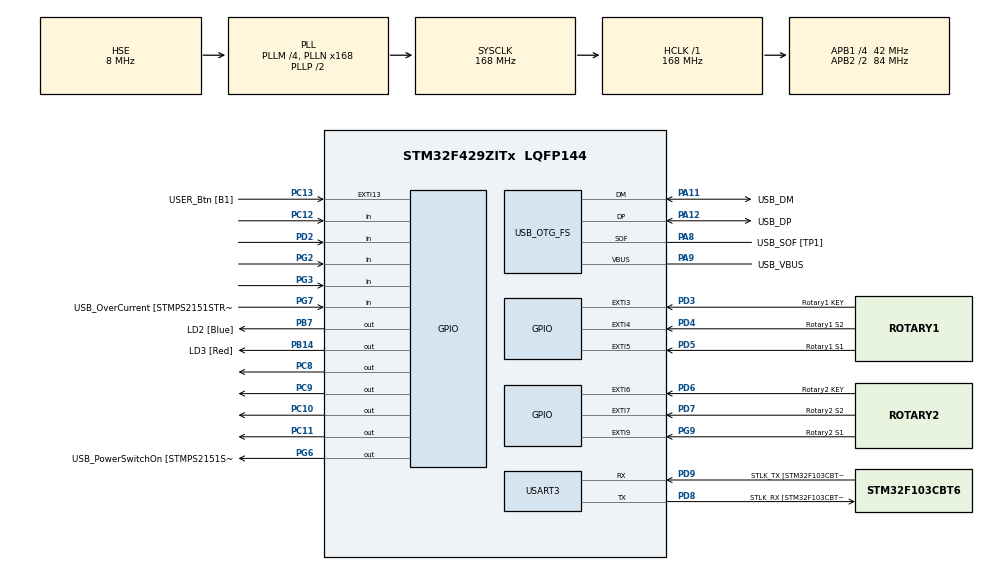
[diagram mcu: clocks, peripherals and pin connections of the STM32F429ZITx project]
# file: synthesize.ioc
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FREERTOS.Tasks01=defaultTask,24,128,StartDefaultTask,Default,NULL,Dynamic,NULL,NULL
FREERTOS.configTOTAL_HEAP_SIZE=65536
Mcu.Family=STM32F4
Mcu.Name=STM32F429ZITx
Mcu.Package=LQFP144
NVIC.EXTI3_IRQn=true\:5\:0\:false\:false\:true\:true\:true\:true\:true
NVIC.EXTI4_IRQn=true\:5\:0\:false\:false\:true\:true\:true\:true\:true
NVIC.EXTI9_5_IRQn=true\:5\:0\:false\:false\:true\:true\:true\:true\:true
NVIC.PriorityGroup=NVIC_PRIORITYGROUP_4
NVIC.TIM6_DAC_IRQn=true\:15\:0\:false\:false\:true\:false\:false\:true\:true
NVIC.TimeBase=TIM6_DAC_IRQn
NVIC.TimeBaseIP=TIM6
PA1.GPIO_Label=RMII_REF_CLK [LAN8742A-CZ-TR_REFCLK0]
PA1.Signal=ETH_REF_CLK
PA10.GPIO_Label=USB_ID
PA10.Signal=USB_OTG_FS_ID
PA11.GPIO_Label=USB_DM
PA11.Mode=Device_Only
PA11.Signal=USB_OTG_FS_DM
PA12.GPIO_Label=USB_DP
PA12.Mode=Device_Only
PA12.Signal=USB_OTG_FS_DP
PA13.GPIO_Label=TMS
PA13.Mode=Serial_Wire
PA13.Signal=SYS_JTMS-SWDIO
PA14.GPIO_Label=TCK
PA14.Mode=Serial_Wire
PA14.Signal=SYS_JTCK-SWCLK
PA2.GPIO_Label=RMII_MDIO [LAN8742A-CZ-TR_MDIO]
PA2.Signal=ETH_MDIO
PA7.GPIO_Label=RMII_CRS_DV [LAN8742A-CZ-TR_CRS_DV]
PA7.Signal=ETH_CRS_DV
PA8.GPIO_Label=USB_SOF [TP1]
PA8.Mode=Activate_SOF_FS
PA8.Signal=USB_OTG_FS_SOF
PA9.GPIO_Label=USB_VBUS
PA9.Mode=Activate_VBUS
PA9.Signal=USB_OTG_FS_VBUS
PB13.GPIO_Label=RMII_TXD1 [LAN8742A-CZ-TR_TXD1]
PB13.Signal=ETH_TXD1
PB14.GPIO_Label=LD3 [Red]
PB14.Signal=GPIO_Output
PB7.GPIO_Label=LD2 [Blue]
PB7.Signal=GPIO_Output
PC10.GPIO_ModeDefaultOutputPP=GPIO_MODE_OUTPUT_OD
PC10.GPIO_PuPd=GPIO_NOPULL
PC10.PinState=GPIO_PIN_SET
PC10.Signal=GPIO_Output
PC11.GPIO_ModeDefaultOutputPP=GPIO_MODE_OUTPUT_OD
PC11.GPIO_PuPd=GPIO_NOPULL
PC11.Signal=GPIO_Output
PC12.GPIO_PuPd=GPIO_PULLUP
PC12.Signal=GPIO_Input
PC13.GPIO_Label=USER_Btn [B1]
PC13.Signal=GPXTI13
PC14/OSC32_IN.Mode=LSE-External-Oscillator
PC14/OSC32_IN.Signal=RCC_OSC32_IN
PC15/OSC32_OUT.Mode=LSE-External-Oscillator
PC15/OSC32_OUT.Signal=RCC_OSC32_OUT
PC4.GPIO_Label=RMII_RXD0 [LAN8742A-CZ-TR_RXD0]
PC4.Signal=ETH_RXD0
PC5.GPIO_Label=RMII_RXD1 [LAN8742A-CZ-TR_RXD1]
PC5.Signal=ETH_RXD1
PC8.GPIO_ModeDefaultOutputPP=GPIO_MODE_OUTPUT_OD
PC8.GPIO_PuPd=GPIO_NOPULL
PC8.PinState=GPIO_PIN_SET
PC8.Signal=GPIO_Output
PC9.GPIO_ModeDefaultOutputPP=GPIO_MODE_OUTPUT_OD
PC9.GPIO_PuPd=GPIO_NOPULL
PC9.PinState=GPIO_PIN_SET
PC9.Signal=GPIO_Output
PD2.GPIO_PuPd=GPIO_PULLUP
PD2.Signal=GPIO_Input
PD3.GPIO_Label=Rotary1 KEY
PD3.GPIO_ModeDefaultEXTI=GPIO_MODE_IT_FALLING
PD3.GPIO_PuPd=GPIO_PULLUP
PD3.Signal=GPXTI3
PD4.GPIO_Label=Rotary1 S2
PD4.GPIO_ModeDefaultEXTI=GPIO_MODE_IT_RISING_FALLING
PD4.GPIO_PuPd=GPIO_PULLUP
PD4.Signal=GPXTI4
PD5.GPIO_Label=Rotary1 S1
PD5.GPIO_ModeDefaultEXTI=GPIO_MODE_IT_RISING_FALLING
PD5.GPIO_PuPd=GPIO_PULLUP
PD5.Signal=GPXTI5
PD6.GPIO_Label=Rotary2 KEY
PD6.GPIO_ModeDefaultEXTI=GPIO_MODE_IT_FALLING
PD6.GPIO_PuPd=GPIO_PULLUP
PD6.Signal=GPXTI6
PD7.GPIO_Label=Rotary2 S2
PD7.GPIO_ModeDefaultEXTI=GPIO_MODE_IT_RISING_FALLING
PD7.GPIO_PuPd=GPIO_PULLUP
PD7.Signal=GPXTI7
PD8.GPIO_Label=STLK_RX [STM32F103CBT6_PA3]
PD8.Mode=Asynchronous
PD8.Signal=USART3_TX
PD9.GPIO_Label=STLK_TX [STM32F103CBT6_PA2]
PD9.Mode=Asynchronous
PD9.Signal=USART3_RX
PG11.GPIO_Label=RMII_TX_EN [LAN8742A-CZ-TR_TXEN]
PG11.Signal=ETH_TX_EN
PG13.GPIO_Label=RMII_TXD0 [LAN8742A-CZ-TR_TXD0]
PG13.Signal=ETH_TXD0
PG2.GPIO_PuPd=GPIO_PULLUP
PG2.Signal=GPIO_Input
PG3.GPIO_PuPd=GPIO_PULLUP
PG3.Signal=GPIO_Input
PG6.GPIO_Label=USB_PowerSwitchOn [STMPS2151STR_EN]
PG6.Signal=GPIO_Output
PG7.GPIO_Label=USB_OverCurrent [STMPS2151STR_FAULT]
PG7.Signal=GPIO_Input
PG9.GPIO_Label=Rotary2 S1
PG9.GPIO_ModeDefaultEXTI=GPIO_MODE_IT_RISING_FALLING
PG9.GPIO_PuPd=GPIO_PULLUP
PG9.Signal=GPXTI9
PH0/OSC_IN.GPIO_Label=MCO [STM32F103CBT6_PA8]
PH0/OSC_IN.Mode=HSE-External-Clock-Source
PH0/OSC_IN.Signal=RCC_OSC_IN
PH1/OSC_OUT.Mode=HSE-External-Clock-Source
PH1/OSC_OUT.Signal=RCC_OSC_OUT
ProjectManager.HeapSize=0x200
ProjectManager.StackSize=0x400
ProjectManager.TargetToolchain=STM32CubeIDE
RCC.48MHZClocksFreq_Value=48000000
RCC.AHBFreq_Value=168000000
RCC.APB1CLKDivider=RCC_HCLK_DIV4
RCC.APB1Freq_Value=42000000
RCC.APB1TimFreq_Value=84000000
RCC.APB2CLKDivider=RCC_HCLK_DIV2
RCC.APB2Freq_Value=84000000
RCC.APB2TimCLKDivider=2
RCC.APB2TimFreq_Value=168000000
RCC.CortexFreq_Value=168000000
RCC.HCLKFreq_Value=168000000
RCC.HSE_VALUE=8000000
RCC.HSI_VALUE=16000000
RCC.PLLM=4
RCC.PLLMUL=RCC_PLL_MUL9
RCC.PLLN=168
RCC.PLLQ=7
RCC.PRESCALERUSB=RCC_USBCLKSOURCE_PLL_DIV1_5
RCC.SYSCLKFreq_VALUE=168000000
RCC.SYSCLKSource=RCC_SYSCLKSOURCE_PLLCLK
RCC.SYSCLKSourceVirtual=RCC_SYSCLKSOURCE_PLLCLK
RCC.USBFreq_Value=48000000
RCC.VCOOutputFreq_Value=336000000
USART3.VirtualMode=VM_ASYNC
USB_OTG_FS.VirtualMode=Device_Only
VP_FREERTOS_VS_CMSIS_V2.Mode=CMSIS_V2
VP_SYS_VS_tim6.Mode=TIM6
board=NUCLEO-F429ZI

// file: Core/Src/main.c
/* USER CODE BEGIN Header */
/**
  ******************************************************************************
  * @file           : main.c
  * @brief          : Main program body
  ******************************************************************************
  * @attention
  *
  * Copyright (c) 2026 STMicroelectronics.
  * All rights reserved.
  *
  * This software is licensed under terms that can be found in the LICENSE file
  * in the root directory of this software component.
  * If no LICENSE file comes with this software, it is provided AS-IS.
  *
  ******************************************************************************
  */
/* USER CODE END Header */
#include "main.h"
#include "cmsis_os.h"

UART_HandleTypeDef huart3;

PCD_HandleTypeDef hpcd_USB_OTG_FS;

/* Definitions for defaultTask */
osThreadId_t defaultTaskHandle;
const osThreadAttr_t defaultTask_attributes = {
  .name = "defaultTask",
  .stack_size = 128 * 4,
  .priority = (osPriority_t) osPriorityNormal,
};

void SystemClock_Config(void);
static void MX_GPIO_Init(void);
static void MX_USART3_UART_Init(void);
static void MX_USB_OTG_FS_PCD_Init(void);
void StartDefaultTask(void *argument);

int main(void)
{

  /* MCU Configuration--------------------------------------------------------*/

  /* Reset of all peripherals, Initializes the Flash interface and the Systick. */
  HAL_Init();

  /* Configure the system clock */
  SystemClock_Config();

  /* Initialize all configured peripherals */
  MX_GPIO_Init();
  MX_USART3_UART_Init();
  MX_USB_OTG_FS_PCD_Init();

  /* Init scheduler */
  osKernelInitialize();

  /* Create the thread(s) */
  /* creation of defaultTask */
  defaultTaskHandle = osThreadNew(StartDefaultTask, NULL, &defaultTask_attributes);

  /* Start scheduler */
  osKernelStart();

  /* We should never get here as control is now taken by the scheduler */

  /* Infinite loop */
  while (1)
  {

  }
}

void SystemClock_Config(void)
{
  RCC_OscInitTypeDef RCC_OscInitStruct = {0};
  RCC_ClkInitTypeDef RCC_ClkInitStruct = {0};

  /** Configure the main internal regulator output voltage
  */
  __HAL_RCC_PWR_CLK_ENABLE();
  __HAL_PWR_VOLTAGESCALING_CONFIG(PWR_REGULATOR_VOLTAGE_SCALE1);

  /** Initializes the RCC Oscillators according to the specified parameters
  * in the RCC_OscInitTypeDef structure.
  */
  RCC_OscInitStruct.OscillatorType = RCC_OSCILLATORTYPE_HSE;
  RCC_OscInitStruct.HSEState = RCC_HSE_BYPASS;
  RCC_OscInitStruct.PLL.PLLState = RCC_PLL_ON;
  RCC_OscInitStruct.PLL.PLLSource = RCC_PLLSOURCE_HSE;
  RCC_OscInitStruct.PLL.PLLM = 4;
  RCC_OscInitStruct.PLL.PLLN = 168;
  RCC_OscInitStruct.PLL.PLLP = RCC_PLLP_DIV2;
  RCC_OscInitStruct.PLL.PLLQ = 7;
  if (HAL_RCC_OscConfig(&RCC_OscInitStruct) != HAL_OK)
  {
    Error_Handler();
  }

  /** Initializes the CPU, AHB and APB buses clocks
  */
  RCC_ClkInitStruct.ClockType = RCC_CLOCKTYPE_HCLK|RCC_CLOCKTYPE_SYSCLK
                              |RCC_CLOCKTYPE_PCLK1|RCC_CLOCKTYPE_PCLK2;
  RCC_ClkInitStruct.SYSCLKSource = RCC_SYSCLKSOURCE_PLLCLK;
  RCC_ClkInitStruct.AHBCLKDivider = RCC_SYSCLK_DIV1;
  RCC_ClkInitStruct.APB1CLKDivider = RCC_HCLK_DIV4;
  RCC_ClkInitStruct.APB2CLKDivider = RCC_HCLK_DIV2;

  if (HAL_RCC_ClockConfig(&RCC_ClkInitStruct, FLASH_LATENCY_5) != HAL_OK)
  {
    Error_Handler();
  }
}

static void MX_USART3_UART_Init(void)
{

  huart3.Instance = USART3;
  huart3.Init.BaudRate = 115200;
  huart3.Init.WordLength = UART_WORDLENGTH_8B;
  huart3.Init.StopBits = UART_STOPBITS_1;
  huart3.Init.Parity = UART_PARITY_NONE;
  huart3.Init.Mode = UART_MODE_TX_RX;
  huart3.Init.HwFlowCtl = UART_HWCONTROL_NONE;
  huart3.Init.OverSampling = UART_OVERSAMPLING_16;
  if (HAL_UART_Init(&huart3) != HAL_OK)
  {
    Error_Handler();
  }

}

static void MX_USB_OTG_FS_PCD_Init(void)
{

  hpcd_USB_OTG_FS.Instance = USB_OTG_FS;
  hpcd_USB_OTG_FS.Init.dev_endpoints = 4;
  hpcd_USB_OTG_FS.Init.speed = PCD_SPEED_FULL;
  hpcd_USB_OTG_FS.Init.dma_enable = DISABLE;
  hpcd_USB_OTG_FS.Init.phy_itface = PCD_PHY_EMBEDDED;
  hpcd_USB_OTG_FS.Init.Sof_enable = ENABLE;
  hpcd_USB_OTG_FS.Init.low_power_enable = DISABLE;
  hpcd_USB_OTG_FS.Init.lpm_enable = DISABLE;
  hpcd_USB_OTG_FS.Init.vbus_sensing_enable = ENABLE;
  hpcd_USB_OTG_FS.Init.use_dedicated_ep1 = DISABLE;
  if (HAL_PCD_Init(&hpcd_USB_OTG_FS) != HAL_OK)
  {
    Error_Handler();
  }

}

static void MX_GPIO_Init(void)
{
  GPIO_InitTypeDef GPIO_InitStruct = {0};

  /* GPIO Ports Clock Enable */
  __HAL_RCC_GPIOC_CLK_ENABLE();
  __HAL_RCC_GPIOH_CLK_ENABLE();
  __HAL_RCC_GPIOA_CLK_ENABLE();
  __HAL_RCC_GPIOB_CLK_ENABLE();
  __HAL_RCC_GPIOD_CLK_ENABLE();
  __HAL_RCC_GPIOG_CLK_ENABLE();

  /*Configure GPIO pin Output Level */
  HAL_GPIO_WritePin(GPIOB, LD3_Pin|LD2_Pin, GPIO_PIN_RESET);

  /*Configure GPIO pin Output Level */
  HAL_GPIO_WritePin(USB_PowerSwitchOn_GPIO_Port, USB_PowerSwitchOn_Pin, GPIO_PIN_RESET);

  /*Configure GPIO pin Output Level */
  HAL_GPIO_WritePin(GPIOC, GPIO_PIN_8|GPIO_PIN_9|GPIO_PIN_10, GPIO_PIN_SET);

  /*Configure GPIO pin Output Level */
  HAL_GPIO_WritePin(GPIOC, GPIO_PIN_11, GPIO_PIN_RESET);

  /*Configure GPIO pin : USER_Btn_Pin */
  GPIO_InitStruct.Pin = USER_Btn_Pin;
  GPIO_InitStruct.Mode = GPIO_MODE_IT_RISING;
  GPIO_InitStruct.Pull = GPIO_NOPULL;
  HAL_GPIO_Init(USER_Btn_GPIO_Port, &GPIO_InitStruct);

  /*Configure GPIO pins : RMII_REF_CLK_Pin RMII_MDIO_Pin RMII_CRS_DV_Pin */
  GPIO_InitStruct.Pin = RMII_REF_CLK_Pin|RMII_MDIO_Pin|RMII_CRS_DV_Pin;
  GPIO_InitStruct.Mode = GPIO_MODE_AF_PP;
  GPIO_InitStruct.Pull = GPIO_NOPULL;
  GPIO_InitStruct.Speed = GPIO_SPEED_FREQ_VERY_HIGH;
  GPIO_InitStruct.Alternate = GPIO_AF11_ETH;
  HAL_GPIO_Init(GPIOA, &GPIO_InitStruct);

  /*Configure GPIO pins : RMII_RXD0_Pin RMII_RXD1_Pin */
  GPIO_InitStruct.Pin = RMII_RXD0_Pin|RMII_RXD1_Pin;
  GPIO_InitStruct.Mode = GPIO_MODE_AF_PP;
  GPIO_InitStruct.Pull = GPIO_NOPULL;
  GPIO_InitStruct.Speed = GPIO_SPEED_FREQ_VERY_HIGH;
  GPIO_InitStruct.Alternate = GPIO_AF11_ETH;
  HAL_GPIO_Init(GPIOC, &GPIO_InitStruct);

  /*Configure GPIO pin : RMII_TXD1_Pin */
  GPIO_InitStruct.Pin = RMII_TXD1_Pin;
  GPIO_InitStruct.Mode = GPIO_MODE_AF_PP;
  GPIO_InitStruct.Pull = GPIO_NOPULL;
  GPIO_InitStruct.Speed = GPIO_SPEED_FREQ_VERY_HIGH;
  GPIO_InitStruct.Alternate = GPIO_AF11_ETH;
  HAL_GPIO_Init(RMII_TXD1_GPIO_Port, &GPIO_InitStruct);

  /*Configure GPIO pins : LD3_Pin LD2_Pin */
  GPIO_InitStruct.Pin = LD3_Pin|LD2_Pin;
  GPIO_InitStruct.Mode = GPIO_MODE_OUTPUT_PP;
  GPIO_InitStruct.Pull = GPIO_NOPULL;
  GPIO_InitStruct.Speed = GPIO_SPEED_FREQ_LOW;
  HAL_GPIO_Init(GPIOB, &GPIO_InitStruct);

  /*Configure GPIO pins : PG2 PG3 */
  GPIO_InitStruct.Pin = GPIO_PIN_2|GPIO_PIN_3;
  GPIO_InitStruct.Mode = GPIO_MODE_INPUT;
  GPIO_InitStruct.Pull = GPIO_PULLUP;
  HAL_GPIO_Init(GPIOG, &GPIO_InitStruct);

  /*Configure GPIO pin : USB_PowerSwitchOn_Pin */
  GPIO_InitStruct.Pin = USB_PowerSwitchOn_Pin;
  GPIO_InitStruct.Mode = GPIO_MODE_OUTPUT_PP;
  GPIO_InitStruct.Pull = GPIO_NOPULL;
  GPIO_InitStruct.Speed = GPIO_SPEED_FREQ_LOW;
  HAL_GPIO_Init(USB_PowerSwitchOn_GPIO_Port, &GPIO_InitStruct);

  /*Configure GPIO pin : USB_OverCurrent_Pin */
  GPIO_InitStruct.Pin = USB_OverCurrent_Pin;
  GPIO_InitStruct.Mode = GPIO_MODE_INPUT;
  GPIO_InitStruct.Pull = GPIO_NOPULL;
  HAL_GPIO_Init(USB_OverCurrent_GPIO_Port, &GPIO_InitStruct);

  /*Configure GPIO pins : PC8 PC9 PC10 PC11 */
  GPIO_InitStruct.Pin = GPIO_PIN_8|GPIO_PIN_9|GPIO_PIN_10|GPIO_PIN_11;
  GPIO_InitStruct.Mode = GPIO_MODE_OUTPUT_OD;
  GPIO_InitStruct.Pull = GPIO_NOPULL;
  GPIO_InitStruct.Speed = GPIO_SPEED_FREQ_LOW;
  HAL_GPIO_Init(GPIOC, &GPIO_InitStruct);

  /*Configure GPIO pin : PC12 */
  GPIO_InitStruct.Pin = GPIO_PIN_12;
  GPIO_InitStruct.Mode = GPIO_MODE_INPUT;
  GPIO_InitStruct.Pull = GPIO_PULLUP;
  HAL_GPIO_Init(GPIOC, &GPIO_InitStruct);

  /*Configure GPIO pin : PD2 */
  GPIO_InitStruct.Pin = GPIO_PIN_2;
  GPIO_InitStruct.Mode = GPIO_MODE_INPUT;
  GPIO_InitStruct.Pull = GPIO_PULLUP;
  HAL_GPIO_Init(GPIOD, &GPIO_InitStruct);

  /*Configure GPIO pins : Rotary1_KEY_Pin Rotary2_KEY_Pin */
  GPIO_InitStruct.Pin = Rotary1_KEY_Pin|Rotary2_KEY_Pin;
  GPIO_InitStruct.Mode = GPIO_MODE_IT_FALLING;
  GPIO_InitStruct.Pull = GPIO_PULLUP;
  HAL_GPIO_Init(GPIOD, &GPIO_InitStruct);

  /*Configure GPIO pins : Rotary1_S2_Pin Rotary1_S1_Pin Rotary2_S2_Pin */
  GPIO_InitStruct.Pin = Rotary1_S2_Pin|Rotary1_S1_Pin|Rotary2_S2_Pin;
  GPIO_InitStruct.Mode = GPIO_MODE_IT_RISING_FALLING;
  GPIO_InitStruct.Pull = GPIO_PULLUP;
  HAL_GPIO_Init(GPIOD, &GPIO_InitStruct);

  /*Configure GPIO pin : Rotary2_S1_Pin */
  GPIO_InitStruct.Pin = Rotary2_S1_Pin;
  GPIO_InitStruct.Mode = GPIO_MODE_IT_RISING_FALLING;
  GPIO_InitStruct.Pull = GPIO_PULLUP;
  HAL_GPIO_Init(Rotary2_S1_GPIO_Port, &GPIO_InitStruct);

  /*Configure GPIO pins : RMII_TX_EN_Pin RMII_TXD0_Pin */
  GPIO_InitStruct.Pin = RMII_TX_EN_Pin|RMII_TXD0_Pin;
  GPIO_InitStruct.Mode = GPIO_MODE_AF_PP;
  GPIO_InitStruct.Pull = GPIO_NOPULL;
  GPIO_InitStruct.Speed = GPIO_SPEED_FREQ_VERY_HIGH;
  GPIO_InitStruct.Alternate = GPIO_AF11_ETH;
  HAL_GPIO_Init(GPIOG, &GPIO_InitStruct);

  /* EXTI interrupt init*/
  HAL_NVIC_SetPriority(EXTI3_IRQn, 5, 0);
  HAL_NVIC_EnableIRQ(EXTI3_IRQn);

  HAL_NVIC_SetPriority(EXTI4_IRQn, 5, 0);
  HAL_NVIC_EnableIRQ(EXTI4_IRQn);

  HAL_NVIC_SetPriority(EXTI9_5_IRQn, 5, 0);
  HAL_NVIC_EnableIRQ(EXTI9_5_IRQn);

}

void StartDefaultTask(void *argument)
{
  /* USER CODE BEGIN 5 */
  /* Infinite loop */
	(void)argument;
	KeypadTasks_Init();
	RotaryTasks_Init();
   for(;;)
    {
      osDelay(1000);
    }
  /* USER CODE END 5 */
}

void HAL_TIM_PeriodElapsedCallback(TIM_HandleTypeDef *htim)
{
  if (htim->Instance == TIM6)
  {
    HAL_IncTick();
  }
}

void Error_Handler(void)
{
  __disable_irq();
  while (1)
  {
  }
}

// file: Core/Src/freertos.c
/* USER CODE BEGIN Header */
/**
  ******************************************************************************
  * File Name          : freertos.c
  * Description        : Code for freertos applications
  ******************************************************************************
  * @attention
  *
  * Copyright (c) 2026 STMicroelectronics.
  * All rights reserved.
  *
  * This software is licensed under terms that can be found in the LICENSE file
  * in the root directory of this software component.
  * If no LICENSE file comes with this software, it is provided AS-IS.
  *
  ******************************************************************************
  */
/* USER CODE END Header */

#include "FreeRTOS.h"
#include "task.h"
#include "main.h"
/* USER CODE BEGIN Includes */
#include "semphr.h"
#include <stdint.h>
#include <stdio.h>
#include "rotary.h"
/* USER CODE END Includes */

/* USER CODE BEGIN PD */
/* ====== PIN MAP: 너 보드에 맞게 수정 ====== */
/* 예시일 뿐이니 반드시 실제 연결 핀으로 바꿔 */
#define C1_GPIO_Port  GPIOC
#define C1_Pin        GPIO_PIN_11
#define C2_GPIO_Port  GPIOC
#define C2_Pin        GPIO_PIN_10
#define C3_GPIO_Port  GPIOC
#define C3_Pin        GPIO_PIN_9
#define C4_GPIO_Port  GPIOC
#define C4_Pin        GPIO_PIN_8

#define R1_GPIO_Port  GPIOC
#define R1_Pin        GPIO_PIN_12
#define R2_GPIO_Port  GPIOD
#define R2_Pin        GPIO_PIN_2
#define R3_GPIO_Port  GPIOG
#define R3_Pin        GPIO_PIN_2
#define R4_GPIO_Port  GPIOG
#define R4_Pin        GPIO_PIN_3

static GPIO_TypeDef* const COL_PORT[4] = { C1_GPIO_Port, C2_GPIO_Port, C3_GPIO_Port, C4_GPIO_Port };
static const uint16_t      COL_PIN [4] = { C1_Pin,      C2_Pin,      C3_Pin,      C4_Pin      };

static GPIO_TypeDef* const ROW_PORT[4] = { R1_GPIO_Port, R2_GPIO_Port, R3_GPIO_Port, R4_GPIO_Port };
static const uint16_t      ROW_PIN [4] = { R1_Pin,       R2_Pin,       R3_Pin,       R4_Pin       };

/* ====== RTOS handles ====== */
static TaskHandle_t keyTaskHandle[16] = {0};
static SemaphoreHandle_t printfMutex = NULL;

/* ====== optional: 버튼별 액션 함수(예시) ====== */
static void Action_Btn1(void)  { printf("BTN1\r\n"); }
static void Action_Btn2(void)  { printf("BTN2\r\n"); }
static void Action_Btn3(void)  { printf("BTN3\r\n"); }
static void Action_Btn4(void)  { printf("BTN4\r\n"); }
static void Action_Btn5(void)  { printf("BTN5\r\n"); }
static void Action_Btn6(void)  { printf("BTN6\r\n"); }
static void Action_Btn7(void)  { printf("BTN7\r\n"); }
static void Action_Btn8(void)  { printf("BTN8\r\n"); }
static void Action_Btn9(void)  { printf("BTN9\r\n"); }
static void Action_Btn10(void) { printf("BTN10\r\n"); }
static void Action_Btn11(void) { printf("BTN11\r\n"); }
static void Action_Btn12(void) { printf("BTN12\r\n"); }
static void Action_Btn13(void) { printf("BTN13\r\n"); }
static void Action_Btn14(void) { printf("BTN14\r\n"); }
static void Action_Btn15(void) { printf("BTN15\r\n"); }
static void Action_Btn16(void) { printf("BTN16\r\n"); }
/* USER CODE END PD */

/* USER CODE BEGIN Variables */
typedef void (*KeyActionFn)(void);
static KeyActionFn g_actions[16] = {
    Action_Btn1, Action_Btn2, Action_Btn3, Action_Btn4,
    Action_Btn5, Action_Btn6, Action_Btn7, Action_Btn8,
    Action_Btn9, Action_Btn10, Action_Btn11, Action_Btn12,
    Action_Btn13, Action_Btn14, Action_Btn15, Action_Btn16
};

typedef enum {
    EV_KEY_DOWN = 0,
    EV_KEY_UP   = 1,
} InputEventType;

typedef struct {
    InputEventType type;
    uint8_t key;       // 0~15
} InputEvent;

static const char* ev_name(InputEventType t)
{
    return (t == EV_KEY_DOWN) ? "DOWN" : "UP";
}

/* USER CODE END Variables */

/* USER CODE BEGIN Application */
static uint16_t matrix_scan_raw(void)
{
    uint16_t mask = 0;

    /* 모든 컬럼 HIGH */
    for (int c = 0; c < 4; c++) {
        HAL_GPIO_WritePin(COL_PORT[c], COL_PIN[c], GPIO_PIN_SET);
    }

    for (int c = 0; c < 4; c++) {
        /* 현재 컬럼만 LOW */
        HAL_GPIO_WritePin(COL_PORT[c], COL_PIN[c], GPIO_PIN_RESET);

        /* 아주 짧은 settle (RTOS 딜레이 말고 NOP로 충분) */
        for (volatile int i = 0; i < 200; i++) { __NOP(); }

        /* 로우 읽기: 눌리면 LOW (Row input pull-up 가정) */
        for (int r = 0; r < 4; r++) {
            GPIO_PinState s = HAL_GPIO_ReadPin(ROW_PORT[r], ROW_PIN[r]);
            if (s == GPIO_PIN_RESET) {
                int idx = r * 4 + c;
                mask |= (uint16_t)(1u << idx);
            }
        }

        /* 컬럼 다시 HIGH */
        HAL_GPIO_WritePin(COL_PORT[c], COL_PIN[c], GPIO_PIN_SET);
    }

    return mask;
}

/* ====== debounce (integrator 방식) ====== */
#define DEB_MAX 3
static uint8_t integ[16] = {0};
static uint16_t stable_mask = 0;   // 디바운스 후 안정 상태

/* raw -> stable 업데이트, "눌림 엣지(0->1)"만 events_mask에 세팅 */
static uint16_t debounce_update(uint16_t raw, uint16_t *down_edges, uint16_t *up_edges)
{
    uint16_t down = 0, up = 0;

    for (int i = 0; i < 16; i++) {
        uint8_t raw_pressed = (raw >> i) & 1u;
        uint8_t st_pressed  = (stable_mask >> i) & 1u;

        if (raw_pressed) {
            if (integ[i] < DEB_MAX) integ[i]++;
        } else {
            if (integ[i] > 0) integ[i]--;
        }

        if (!st_pressed && integ[i] == DEB_MAX) {
            stable_mask |= (uint16_t)(1u << i);
            down	    |= (uint16_t)(1u << i);  // pressed edge
        }
        if (st_pressed && integ[i] == 0) {
            stable_mask &= (uint16_t)~(1u << i); // release (원하면 여기서 release 이벤트도 만들 수 있음)
            up |= (uint16_t)(1u << i);
        }
    }

    *down_edges = down;
    *up_edges = up;
}

/* ====== tasks ====== */
static void KeyWorkerTask(void *arg)
{
    int idx = (int)(uintptr_t)arg;

    for (;;) {
        ulTaskNotifyTake(pdTRUE, portMAX_DELAY);

        if ((unsigned)idx < 16 && g_actions[idx]) {
            if (printfMutex) xSemaphoreTake(printfMutex, portMAX_DELAY);
            g_actions[idx]();
            if (printfMutex) xSemaphoreGive(printfMutex);
        }
    }
}

static void print_event(const InputEvent *e)
{
    // 사람이 보기 좋게 1~16로 표시하려면 key+1
    if (printfMutex) xSemaphoreTake(printfMutex, portMAX_DELAY);
    printf("[EV] key=%u type=%s\r\n", (unsigned)(e->key + 1), ev_name(e->type));
    if (printfMutex) xSemaphoreGive(printfMutex);
}

static void KeyScanTask(void *arg)
{
    (void)arg;
    const TickType_t period = pdMS_TO_TICKS(5);

    for (;;) {
        uint16_t raw = matrix_scan_raw();

        uint16_t downs = 0, ups = 0;
        debounce_update(raw, &downs, &ups);

        // DOWN 이벤트들 출력
        while (downs) {
            int idx = __builtin_ctz(downs);
            downs &= (uint16_t)(downs - 1);

            InputEvent e = { .type = EV_KEY_DOWN, .key = (uint8_t)idx };
            print_event(&e);

            // (원하면) 기존 WorkerTask도 같이 깨울 수 있음
//            if (keyTaskHandle[idx]) {
//                xTaskNotifyGive(keyTaskHandle[idx]);
//            }
        }

        // UP 이벤트들 출력
        while (ups) {
            int idx = __builtin_ctz(ups);
            ups &= (uint16_t)(ups - 1);

            InputEvent e = { .type = EV_KEY_UP, .key = (uint8_t)idx };
            print_event(&e);
        }

        vTaskDelay(period);
    }
}

/* ====== init: StartDefaultTask에서 한 번만 호출 ====== */
void KeypadTasks_Init(void)
{
    if (printfMutex == NULL) {
        printfMutex = xSemaphoreCreateMutex();
    }

    if (keyTaskHandle[0] != NULL) return; // 중복 방지

    for (int i = 0; i < 16; i++) {
        char name[8];
        snprintf(name, sizeof(name), "K%02d", i);

        BaseType_t ok = xTaskCreate(KeyWorkerTask, name,
                                   128, // 워커는 가볍게
                                   (void*)(uintptr_t)i,
                                   tskIDLE_PRIORITY + 1,
                                   &keyTaskHandle[i]);
        configASSERT(ok == pdPASS);
    }

    BaseType_t ok = xTaskCreate(KeyScanTask, "KeyScan",
                               256,
                               NULL,
                               tskIDLE_PRIORITY + 2,
                               NULL);
    configASSERT(ok == pdPASS);
}
void RotaryTasks_Init(void)
{

    g_inputQ = xQueueCreate(32, sizeof(input_evt_t)); // 버퍼는 넉넉히
    configASSERT(g_inputQ);

    xTaskCreate(InputTask, "InputTask", 512, NULL, tskIDLE_PRIORITY+2, NULL);
}
/* USER CODE END Application */
